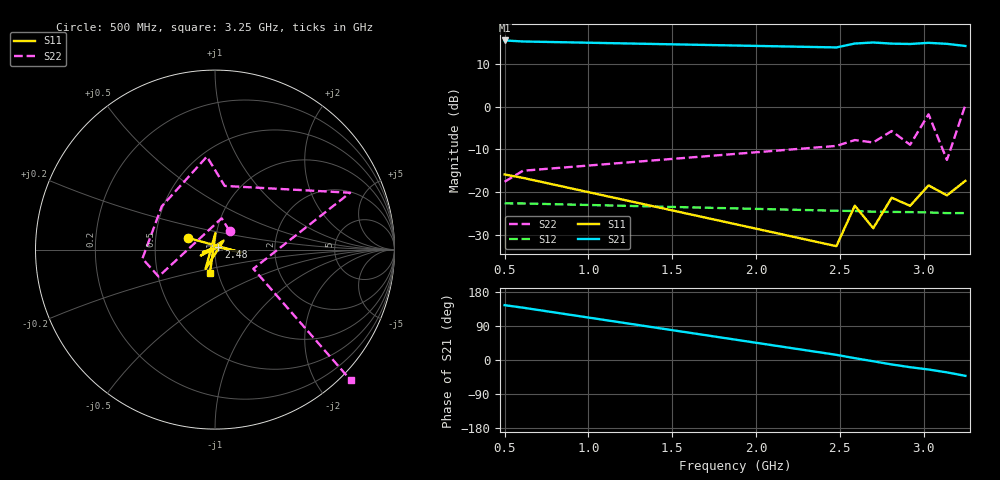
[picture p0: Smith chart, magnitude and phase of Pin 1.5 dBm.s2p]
! RsaToolbox (C) 2015 Rohde & Schwarz America
! Number of points: 10
! Number of ports: 2
! Balanced ports?: No
# Hz S RI R 50
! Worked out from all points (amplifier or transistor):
!   10 points, 500 MHz to 3.25 GHz, reference 50 ohm
!   highest |S21| = 15.5 dB at 500 MHz (marker M1)
!   |S21| within 3 dB of that: start of sweep to end of sweep
!   unconditionally stable (mu >= 1): start of sweep to 3.008 GHz; 3.044 GHz to 3.223 GHz
!   at 610 MHz: K = 1.30, MAG = 15.7 dB, |S12| = -22.6 dB
!   at 2.81 GHz: K = 1.32, MAG = 16.3 dB, |S12| = -24.6 dB
!   at 3.25 GHz: K = 0.02, MSG = 19.6 dB, |S12| = -24.9 dB
!   S11 on the Smith chart (normalised r, x): 500 MHz: 0.74, +0.10; 2.48 GHz: 1.04, +0.03; 3.25 GHz: 0.91, -0.25
5e8  -0.1477 0.0644  -4.879 3.445  0.0639 -0.0371  0.081 0.1048
6.1e8  0.1461 -0.0161  -4.319 3.885  0.0594 -0.0437  0.0368 0.1745
2.48e9  0.0193 0.013  4.81 1.164  -0.0514 -0.0322  -0.3142 -0.15
2.59e9  -0.068 -0.0146  5.477 0.4586  -0.0602 -0.000696  -0.4045 -0.0503
2.7e9  0.0299 0.0232  5.645 -0.3318  -0.0548 -0.0223  -0.2966 0.2409
2.81e9  -0.0794 -0.0335  5.369 -1.113  -0.0584 0.00695  -0.0452 0.5182
2.92e9  0.0478 0.0502  5.136 -1.767  -0.0584 -0.000106  0.0539 0.3548
3.03e9  -0.0527 -0.1079  5.075 -2.375  -0.0566 0.0126  0.7526 0.3167
3.14e9  0.00201 0.0918  4.587 -2.942  -0.0555 0.0124  0.2135 -0.1067
3.25e9  -0.0283 -0.1329  3.836 -3.428  -0.0486 0.0297  0.755 -0.7264
